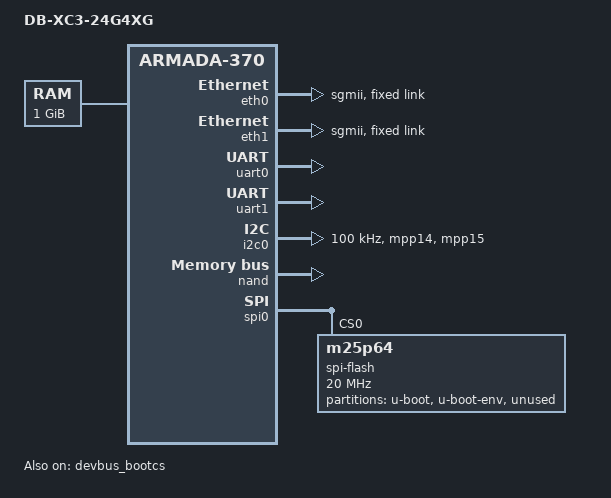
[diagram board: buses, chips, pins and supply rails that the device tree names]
// SPDX-License-Identifier: (GPL-2.0+ OR MIT)
/*
 * Device Tree file for DB-XC3-24G4XG board
 *
 * Copyright (C) 2016 Allied Telesis Labs
 *
 * Based on armada-xp-db.dts
 *
 * Note: this Device Tree assumes that the bootloader has remapped the
 * internal registers to 0xf1000000 (instead of the default
 * 0xd0000000). The 0xf1000000 is the default used by the recent,
 * DT-capable, U-Boot bootloaders provided by Marvell. Some earlier
 * boards were delivered with an older version of the bootloader that
 * left internal registers mapped at 0xd0000000. If you are in this
 * situation, you should either update your bootloader (preferred
 * solution) or the below Device Tree should be adjusted.
 */

/dts-v1/;

#include <dt-bindings/gpio/gpio.h>
#include "armada-xp-98dx3336.dtsi"

/ {
	model = "DB-XC3-24G4XG";
	compatible = "marvell,db-xc3-24g4xg", "marvell,armadaxp-98dx3336", "marvell,armada-370-xp";

	chosen {
		bootargs = "console=ttyS0,115200 earlyprintk";
	};

	reserved-memory {
		#address-cells = <2>;
		#size-cells = <2>;
		ranges;

		prestera_rsvd: buffer@0x1000000 {
			/* to be used as a shared pool of DMA buffers for a set of devices */
			compatible = "shared-dma-pool";
			/* No one other than devices registered for that mem, may use this area */
			no-map;

			/* Base addr (first 2 cells) requires alignment, we choose start of memory */
			reg = <0x0 0x1000000 0x0 0x1000000>;

		};
	};

	mv_dma {
		compatible = "marvell,mv_dma";
		memory-region = <&prestera_rsvd>;
		status = "okay";
	};

	memory {
		device_type = "memory";
		reg = <0 0x00000000 0 0x40000000>; /* 1 GB */
	};

	soc {
		internal-regs {
			eth0: ethernet@70000 {
				reg = <0x70000 0x4000>;
				interrupts = <8>;
				clocks = <&gateclk 4>;
				status = "okay";
				phy-mode = "sgmii";
				fixed-link {
					speed = <100>;
					full-duplex;
				};
			};

			eth1: ethernet@74000 {
				reg = <0x74000 0x4000>;
				interrupts = <10>;
				clocks = <&gateclk 3>;
				status = "okay";
				phy-mode = "sgmii";
				fixed-link {
					speed = <100>;
					full-duplex;
				};
			};
		};

		prestera {
			compatible = "marvell,prestera";
			interrupts = <0x21>;
			status = "okay";
		};
	};
};

pinctrl0: &pinctrl {
	compatible = "marvell,ac3-pinctrl",
			 "syscon", "simple-mfd";

	i2c_mpps: i2c-mpps {
		marvell,pins = "mpp14", "mpp15";
		marvell,function = "i2c0-opt";
	};

	i2c_gpio: i2c-gpio {
		marvell,pins = "mpp14", "mpp15";
		marvell,function = "gpio";
	};
};

&devbus_bootcs {
	status = "okay";

	/* Device Bus parameters are required */

	/* Read parameters */
	devbus,bus-width    = <16>;
	devbus,turn-off-ps  = <60000>;
	devbus,badr-skew-ps = <0>;
	devbus,acc-first-ps = <124000>;
	devbus,acc-next-ps  = <248000>;
	devbus,rd-setup-ps  = <0>;
	devbus,rd-hold-ps   = <0>;

	/* Write parameters */
	devbus,sync-enable = <0>;
	devbus,wr-high-ps  = <60000>;
	devbus,wr-low-ps   = <60000>;
	devbus,ale-wr-ps   = <60000>;
};

&uart0 {
	status = "okay";
};

&uart1 {
	status = "okay";
};

&i2c0 {
	clock-frequency = <100000>;
	status = "okay";

	pinctrl-names = "i2c-mpp-state", "i2c-gpio-state";
	pinctrl-0 = <&i2c_mpps>;
	pinctrl-1 = <&i2c_gpio>;

	scl_gpio = <&gpio0 15 GPIO_ACTIVE_HIGH>;
	sda_gpio = <&gpio0 14 GPIO_ACTIVE_HIGH>;
};

&nand {
	status = "okay";
	label = "pxa3xx_nand-0";
	num-cs = <1>;
	marvell,nand-keep-config;
	nand-on-flash-bbt;
	nand-ecc-strength = <4>;
	nand-ecc-step-size = <512>;
};

&spi0 {
	status = "okay";

	spi-flash@0 {
		#address-cells = <1>;
		#size-cells = <1>;
		compatible = "m25p64";
		reg = <0>; /* Chip select 0 */
		spi-max-frequency = <20000000>;
		m25p,fast-read;

		partition@u-boot {
			reg = <0x00000000 0x00100000>;
			label = "u-boot";
		};
		partition@u-boot-env {
			reg = <0x00100000 0x00040000>;
			label = "u-boot-env";
		};
		partition@unused {
			reg = <0x00140000 0x00ec0000>;
			label = "unused";
		};

	};
};
